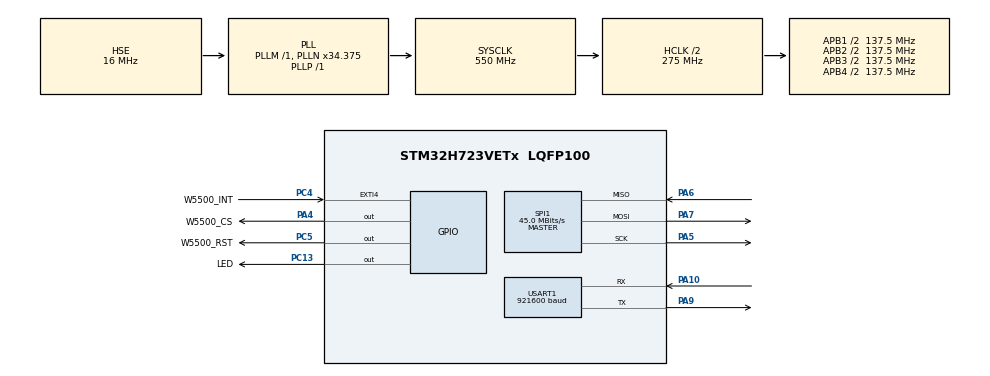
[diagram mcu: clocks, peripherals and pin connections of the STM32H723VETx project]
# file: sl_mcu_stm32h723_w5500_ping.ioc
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CORTEX_M7.CPU_ICache=Enabled
CORTEX_M7.default_mode_Activation=1
Mcu.Family=STM32H7
Mcu.Name=STM32H723VETx
Mcu.Package=LQFP100
NVIC.EXTI4_IRQn=true\:0\:0\:false\:false\:true\:true\:true\:true
NVIC.PriorityGroup=NVIC_PRIORITYGROUP_4
NVIC.SPI1_IRQn=true\:0\:0\:false\:false\:true\:true\:true\:true
NVIC.TIM4_IRQn=true\:0\:0\:false\:false\:true\:true\:true\:true
PA10.Mode=Asynchronous
PA10.Signal=USART1_RX
PA13(JTMS/SWDIO).Mode=Trace_Asynchronous_SW
PA13(JTMS/SWDIO).Signal=DEBUG_JTMS-SWDIO
PA14(JTCK/SWCLK).Mode=Trace_Asynchronous_SW
PA14(JTCK/SWCLK).Signal=DEBUG_JTCK-SWCLK
PA4.GPIO_Label=W5500_CS
PA4.PinState=GPIO_PIN_SET
PA4.Signal=GPIO_Output
PA5.GPIO_Speed=GPIO_SPEED_FREQ_VERY_HIGH
PA5.Mode=Full_Duplex_Master
PA5.Signal=SPI1_SCK
PA6.GPIO_Speed=GPIO_SPEED_FREQ_VERY_HIGH
PA6.Mode=Full_Duplex_Master
PA6.Signal=SPI1_MISO
PA7.GPIO_Speed=GPIO_SPEED_FREQ_VERY_HIGH
PA7.Mode=Full_Duplex_Master
PA7.Signal=SPI1_MOSI
PA9.Mode=Asynchronous
PA9.Signal=USART1_TX
PB3(JTDO/TRACESWO).Mode=Trace_Asynchronous_SW
PB3(JTDO/TRACESWO).Signal=DEBUG_JTDO-SWO
PC13.GPIO_Label=LED
PC13.GPIO_ModeDefaultOutputPP=GPIO_MODE_OUTPUT_OD
PC13.GPIO_PuPd=GPIO_NOPULL
PC13.PinState=GPIO_PIN_SET
PC13.Signal=GPIO_Output
PC4.GPIO_Label=W5500_INT
PC4.Signal=GPXTI4
PC5.GPIO_Label=W5500_RST
PC5.PinState=GPIO_PIN_SET
PC5.Signal=GPIO_Output
PH0-OSC_IN.Mode=HSE-External-Oscillator
PH0-OSC_IN.Signal=RCC_OSC_IN
PH1-OSC_OUT.Mode=HSE-External-Oscillator
PH1-OSC_OUT.Signal=RCC_OSC_OUT
ProjectManager.HeapSize=0x200
ProjectManager.StackSize=0x400
ProjectManager.TargetToolchain=STM32CubeIDE
RCC.ADCFreq_Value=32250000
RCC.APB1Freq_Value=137500000
RCC.APB2Freq_Value=137500000
RCC.APB3Freq_Value=137500000
RCC.APB4Freq_Value=137500000
RCC.CortexFreq_Value=550000000
RCC.D1PPRE=RCC_APB3_DIV2
RCC.D2PPRE1=RCC_APB1_DIV2
RCC.D2PPRE2=RCC_APB2_DIV2
RCC.D3PPRE=RCC_APB4_DIV2
RCC.DIVM1=1
RCC.DIVM3=8
RCC.DIVN1=34
RCC.DIVN3=180
RCC.DIVP1=1
RCC.DIVQ1=3
RCC.HCLKFreq_Value=275000000
RCC.HPRE=RCC_HCLK_DIV2
RCC.HSE_VALUE=16000000
RCC.PLLFRACN=3072
RCC.PLLSourceVirtual=RCC_PLLSOURCE_HSE
RCC.SPI123CLockSelection=RCC_SPI123CLKSOURCE_PLL3
RCC.SYSCLKFreq_VALUE=550000000
RCC.SYSCLKSource=RCC_SYSCLKSOURCE_PLLCLK
RCC.USBFreq_Value=183333333.33333334
SPI1.BaudRatePrescaler=SPI_BAUDRATEPRESCALER_4
SPI1.CalculateBaudRate=45.0 MBits/s
SPI1.DataSize=SPI_DATASIZE_8BIT
SPI1.Direction=SPI_DIRECTION_2LINES
SPI1.Mode=SPI_MODE_MASTER
SPI1.NSSPMode=SPI_NSS_PULSE_DISABLE
SPI1.VirtualType=VM_MASTER
TIM4.Period=10000 - 1
TIM4.Prescaler=27500 - 1
TIM4.TIM_MasterOutputTrigger=TIM_TRGO_UPDATE
USART1.BaudRate=921600
USART1.VirtualMode-Asynchronous=VM_ASYNC
VP_CRC_VS_CRC.Mode=CRC_Activate
VP_MEMORYMAP_VS_MEMORYMAP.Mode=CurAppReg
VP_TIM4_VS_ClockSourceINT.Mode=Internal
board=custom

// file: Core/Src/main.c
/* USER CODE BEGIN Header */
/**
 ******************************************************************************
 - @file           : main.c
 - @brief          : Main program body
 ******************************************************************************
 - @attention
 *
 - Copyright (c) 2026 STM32World <lth@stm32world.com>
 - All rights reserved.
 *
 - This software is licensed under terms that can be found in the LICENSE file
 - in the root directory of this software component.
 - If no LICENSE file comes with this software, it is provided AS-IS.
 *
 ******************************************************************************
 */
/* USER CODE END Header */
#include "main.h"

/* USER CODE BEGIN Includes */
#include <stdio.h>
#include "wizchip_conf.h"
#include "socket.h"
#include "w5500_spi.h"
#include "dhcp.h"
#include "socket.h"
/* USER CODE END Includes */

/* USER CODE BEGIN PD */
#define DHCP_SOCKET  0  // W5500 Socket 0 reserved for DHCP process
#define nist_socket      1
#define nist_port        13
/* USER CODE END PD */

CRC_HandleTypeDef hcrc;

SPI_HandleTypeDef hspi1;

TIM_HandleTypeDef htim4;

UART_HandleTypeDef huart1;

/* USER CODE BEGIN PV */

uint8_t dhcp_buffer[548]; // Working buffer required by ioLibrary DHCP

static volatile uint32_t dhcp_timer_ms = 0;
static uint8_t dhcp_allocated = 0;

// Default MAC address
static wiz_NetInfo g_net_info = {
        .mac = { 0x00, 0x08, 0xDC, 0x12, 0x34, 0x56 },
        .ip = { 0, 0, 0, 0 },
        .sn = { 0, 0, 0, 0 },
        .gw = { 0, 0, 0, 0 },
        .dns = { 0, 0, 0, 0 },
        .dhcp = NETINFO_DHCP
};

// NIST Time Server: time.nist.gov (132.163.96.1)
static uint8_t nist_server_ip[4] = { 132, 163, 96, 1 };

extern uint8_t HOST_NAME[]; // Reference the array inside dhcp.c

/* USER CODE END PV */

void SystemClock_Config(void);
static void MPU_Config(void);
static void MX_GPIO_Init(void);
static void MX_USART1_UART_Init(void);
static void MX_CRC_Init(void);
static void MX_SPI1_Init(void);
static void MX_TIM4_Init(void);
/* USER CODE BEGIN PFP */
void Print_Network_Info(void);
/* USER CODE END PFP */

/* USER CODE BEGIN 0 */

void Print_Network_Info(void) {
    wiz_NetInfo netInfo;
    wizchip_getnetinfo(&netInfo);
    printf("\n--- Network Configured via DHCP ---\n");
    printf("IP : %d.%d.%d.%d\n", netInfo.ip[0], netInfo.ip[1], netInfo.ip[2], netInfo.ip[3]);
    printf("SN : %d.%d.%d.%d\n", netInfo.sn[0], netInfo.sn[1], netInfo.sn[2], netInfo.sn[3]);
    printf("GW : %d.%d.%d.%d\n", netInfo.gw[0], netInfo.gw[1], netInfo.gw[2], netInfo.gw[3]);
    printf("DNS: %d.%d.%d.%d\n", netInfo.dns[0], netInfo.dns[1], netInfo.dns[2], netInfo.dns[3]);
    printf("----------------------------------\n\n");
}

/**
 - @brief Callback invoked when DHCP successfully retrieves an IP address
 */
void Callback_IPAssigned(void) {
    // Retrieve acquired network parameters from DHCP engine
    getIPfromDHCP(g_net_info.ip);
    getGWfromDHCP(g_net_info.gw);
    getSNfromDHCP(g_net_info.sn);
    getDNSfromDHCP(g_net_info.dns);
    g_net_info.dhcp = NETINFO_DHCP;

    // Apply acquired network parameters to the W5500 hardware
    wizchip_setnetinfo(&g_net_info);

    dhcp_allocated = 1;
    printf("[DHCP SUCCESS] IP Address Lease Acquired!\n");
    Print_Network_Info();
}

/**
 - @brief Callback invoked if IP conflict is detected on network
 */
void Callback_IPConflict(void) {
    dhcp_allocated = 0;
    printf("[DHCP ERROR] IP Conflict Detected!\n");
}

/**
 - @brief Timer Callback - Handles 1-second ticks required by DHCP engine
 */
void HAL_TIM_PeriodElapsedCallback(TIM_HandleTypeDef *htim) {
    if (htim->Instance == TIM4) {
        DHCP_time_handler(); // Must be called once every 1 second
    }
}

// NIST Time Server: time.nist.gov (132.163.96.1)
void fetch_nist_daytime(void) {
    uint8_t rx_buf[128];
    uint32_t timeout;

    // 1. Ensure socket is closed before starting
    close(nist_socket);

    // 2. Open TCP socket
    if (socket(nist_socket, Sn_MR_TCP, 8000, 0) != nist_socket) {
        printf("[TIME] Failed to open socket\n");
        return;
    }

    // 3. Connect to NIST server
    connect(nist_socket, nist_server_ip, nist_port);

    // 4. Wait for connection to establish (timeout after 2 seconds)
    timeout = uwTick + 2000;
    while (getSn_SR(nist_socket) != SOCK_ESTABLISHED) {
        if (uwTick >= timeout) {
            printf("[TIME] Connection timeout\n");
            close(nist_socket);
            return;
        }
    }

    // 5. Wait for NIST server to send daytime payload (timeout after 2 seconds)
    timeout = uwTick + 2000;
    while (getSn_RX_RSR(nist_socket) == 0) {
        if (uwTick >= timeout) {
            printf("[TIME] Receive timeout\n");
            close(nist_socket);
            return;
        }
    }

    // 6. Read received time string
    uint16_t len = getSn_RX_RSR(nist_socket);
    if (len > sizeof(rx_buf) - 1)
        len = sizeof(rx_buf) - 1;

    recv(nist_socket, rx_buf, len);
    rx_buf[len] = '\0';

    printf("[NIST TIME] %s", rx_buf);

    // 7. Clean disconnect and close
    disconnect(nist_socket);
    close(nist_socket);
}

/* USER CODE END 0 */

int main(void)
{

    /* MPU Configuration--------------------------------------------------------*/
    MPU_Config();

    /* Enable the CPU Cache */

    /* Enable I-Cache---------------------------------------------------------*/
    SCB_EnableICache();

    /* MCU Configuration--------------------------------------------------------*/

    /* Reset of all peripherals, Initializes the Flash interface and the Systick. */
    HAL_Init();

    /* Configure the system clock */
    SystemClock_Config();

    /* Initialize all configured peripherals */
    MX_GPIO_Init();
    MX_USART1_UART_Init();
    MX_CRC_Init();
    MX_SPI1_Init();
    MX_TIM4_Init();
    /* USER CODE BEGIN 2 */

    printf("\n\n\nStart W5500 DHCP Client\n");

    // Start 1-second timer interrupt for DHCP timer ticks
    HAL_TIM_Base_Start_IT(&htim4);
    printf("[SYS] TIM4 started.\n");

    // Initialize W5500 hardware and SPI callbacks
    if (W5500_Init(&g_net_info) != 0) {
        printf("[ERROR] W5500 Init Failed!\n");
        Error_Handler(); // Initialization failed
    }

    printf("[W5500] Init OK. Version Register: 0x%02X\n", getVERSIONR());

    // Initialize DHCP Client module
    DHCP_init(DHCP_SOCKET, dhcp_buffer);

    // Register DHCP Callbacks
    reg_dhcp_cbfunc(Callback_IPAssigned, Callback_IPAssigned, Callback_IPConflict);
    printf("[DHCP] Starting DHCP State Machine...\n");

    /* USER CODE END 2 */

    /* Infinite loop */
    /* USER CODE BEGIN WHILE */

    uint32_t now, loop_cnt = 0, next_blink = 500, next_tick = 1000, next_time_poll = 10000;
    uint8_t dhcp_state = 0, last_dhcp_state = 0xFF;

    while (1) {

        now = uwTick;

        /* Run DHCP state machine: every loop until IP is acquired, then once per second for lease maintenance */
        if (!dhcp_allocated || (now >= next_tick)) {
            dhcp_state = DHCP_run();

            if (dhcp_state != last_dhcp_state) {
                switch (dhcp_state) {
                case DHCP_RUNNING:
                    printf("[DHCP] Discovering/Requesting IP...\n");
                    break;
                case DHCP_IP_ASSIGN:
                    case DHCP_IP_CHANGED:
                    case DHCP_IP_LEASED:
                    break;
                case DHCP_FAILED:
                    printf("[DHCP] Request Failed!\n");
                    break;
                }
                last_dhcp_state = dhcp_state;
            }
        }

        if (now >= next_blink) {
            HAL_GPIO_TogglePin(LED_GPIO_Port, LED_Pin);
            next_blink = now + 500;
        }

        if (now >= next_tick) {
            printf("Tick %lu (loop=%lu, dhcp_allocated=%d)\n", now / 1000, loop_cnt, dhcp_allocated);

            loop_cnt = 0;
            next_tick = now + 1000;
        }

        if (dhcp_allocated && (now >= next_time_poll)) {
            printf("[TIME] Polling NIST Daytime server...\n");
            fetch_nist_daytime();
            next_time_poll = now + 10000;
        }

        ++loop_cnt;

        /* USER CODE END WHILE */

    }
}

void SystemClock_Config(void)
{
    RCC_OscInitTypeDef RCC_OscInitStruct = { 0 };
    RCC_ClkInitTypeDef RCC_ClkInitStruct = { 0 };

    /** Supply configuration update enable
     */
    HAL_PWREx_ConfigSupply(PWR_LDO_SUPPLY);

    /** Configure the main internal regulator output voltage
     */
    __HAL_PWR_VOLTAGESCALING_CONFIG(PWR_REGULATOR_VOLTAGE_SCALE0);

    while (!__HAL_PWR_GET_FLAG(PWR_FLAG_VOSRDY)) {
    }

    /** Initializes the RCC Oscillators according to the specified parameters
     * in the RCC_OscInitTypeDef structure.
     */
    RCC_OscInitStruct.OscillatorType = RCC_OSCILLATORTYPE_HSE;
    RCC_OscInitStruct.HSEState = RCC_HSE_ON;
    RCC_OscInitStruct.PLL.PLLState = RCC_PLL_ON;
    RCC_OscInitStruct.PLL.PLLSource = RCC_PLLSOURCE_HSE;
    RCC_OscInitStruct.PLL.PLLM = 1;
    RCC_OscInitStruct.PLL.PLLN = 34;
    RCC_OscInitStruct.PLL.PLLP = 1;
    RCC_OscInitStruct.PLL.PLLQ = 3;
    RCC_OscInitStruct.PLL.PLLR = 2;
    RCC_OscInitStruct.PLL.PLLRGE = RCC_PLL1VCIRANGE_3;
    RCC_OscInitStruct.PLL.PLLVCOSEL = RCC_PLL1VCOWIDE;
    RCC_OscInitStruct.PLL.PLLFRACN = 3072;
    if (HAL_RCC_OscConfig(&RCC_OscInitStruct) != HAL_OK)
            {
        Error_Handler();
    }

    /** Initializes the CPU, AHB and APB buses clocks
     */
    RCC_ClkInitStruct.ClockType = RCC_CLOCKTYPE_HCLK | RCC_CLOCKTYPE_SYSCLK
            | RCC_CLOCKTYPE_PCLK1 | RCC_CLOCKTYPE_PCLK2
            | RCC_CLOCKTYPE_D3PCLK1 | RCC_CLOCKTYPE_D1PCLK1;
    RCC_ClkInitStruct.SYSCLKSource = RCC_SYSCLKSOURCE_PLLCLK;
    RCC_ClkInitStruct.SYSCLKDivider = RCC_SYSCLK_DIV1;
    RCC_ClkInitStruct.AHBCLKDivider = RCC_HCLK_DIV2;
    RCC_ClkInitStruct.APB3CLKDivider = RCC_APB3_DIV2;
    RCC_ClkInitStruct.APB1CLKDivider = RCC_APB1_DIV2;
    RCC_ClkInitStruct.APB2CLKDivider = RCC_APB2_DIV2;
    RCC_ClkInitStruct.APB4CLKDivider = RCC_APB4_DIV2;

    if (HAL_RCC_ClockConfig(&RCC_ClkInitStruct, FLASH_LATENCY_3) != HAL_OK)
            {
        Error_Handler();
    }
}

static void MX_CRC_Init(void)
{

    hcrc.Instance = CRC;
    hcrc.Init.DefaultPolynomialUse = DEFAULT_POLYNOMIAL_ENABLE;
    hcrc.Init.DefaultInitValueUse = DEFAULT_INIT_VALUE_ENABLE;
    hcrc.Init.InputDataInversionMode = CRC_INPUTDATA_INVERSION_NONE;
    hcrc.Init.OutputDataInversionMode = CRC_OUTPUTDATA_INVERSION_DISABLE;
    hcrc.InputDataFormat = CRC_INPUTDATA_FORMAT_BYTES;
    if (HAL_CRC_Init(&hcrc) != HAL_OK)
            {
        Error_Handler();
    }

}

static void MX_SPI1_Init(void)
{

    /* SPI1 parameter configuration*/
    hspi1.Instance = SPI1;
    hspi1.Init.Mode = SPI_MODE_MASTER;
    hspi1.Init.Direction = SPI_DIRECTION_2LINES;
    hspi1.Init.DataSize = SPI_DATASIZE_8BIT;
    hspi1.Init.CLKPolarity = SPI_POLARITY_LOW;
    hspi1.Init.CLKPhase = SPI_PHASE_1EDGE;
    hspi1.Init.NSS = SPI_NSS_SOFT;
    hspi1.Init.BaudRatePrescaler = SPI_BAUDRATEPRESCALER_4;
    hspi1.Init.FirstBit = SPI_FIRSTBIT_MSB;
    hspi1.Init.TIMode = SPI_TIMODE_DISABLE;
    hspi1.Init.CRCCalculation = SPI_CRCCALCULATION_DISABLE;
    hspi1.Init.CRCPolynomial = 0x0;
    hspi1.Init.NSSPMode = SPI_NSS_PULSE_DISABLE;
    hspi1.Init.NSSPolarity = SPI_NSS_POLARITY_LOW;
    hspi1.Init.FifoThreshold = SPI_FIFO_THRESHOLD_01DATA;
    hspi1.Init.TxCRCInitializationPattern = SPI_CRC_INITIALIZATION_ALL_ZERO_PATTERN;
    hspi1.Init.RxCRCInitializationPattern = SPI_CRC_INITIALIZATION_ALL_ZERO_PATTERN;
    hspi1.Init.MasterSSIdleness = SPI_MASTER_SS_IDLENESS_00CYCLE;
    hspi1.Init.MasterInterDataIdleness = SPI_MASTER_INTERDATA_IDLENESS_00CYCLE;
    hspi1.Init.MasterReceiverAutoSusp = SPI_MASTER_RX_AUTOSUSP_DISABLE;
    hspi1.Init.MasterKeepIOState = SPI_MASTER_KEEP_IO_STATE_DISABLE;
    hspi1.Init.IOSwap = SPI_IO_SWAP_DISABLE;
    if (HAL_SPI_Init(&hspi1) != HAL_OK)
            {
        Error_Handler();
    }

}

static void MX_TIM4_Init(void)
{

    TIM_ClockConfigTypeDef sClockSourceConfig = { 0 };
    TIM_MasterConfigTypeDef sMasterConfig = { 0 };

    htim4.Instance = TIM4;
    htim4.Init.Prescaler = 27500 - 1;
    htim4.Init.CounterMode = TIM_COUNTERMODE_UP;
    htim4.Init.Period = 10000 - 1;
    htim4.Init.ClockDivision = TIM_CLOCKDIVISION_DIV1;
    htim4.Init.AutoReloadPreload = TIM_AUTORELOAD_PRELOAD_DISABLE;
    if (HAL_TIM_Base_Init(&htim4) != HAL_OK)
            {
        Error_Handler();
    }
    sClockSourceConfig.ClockSource = TIM_CLOCKSOURCE_INTERNAL;
    if (HAL_TIM_ConfigClockSource(&htim4, &sClockSourceConfig) != HAL_OK)
            {
        Error_Handler();
    }
    sMasterConfig.MasterOutputTrigger = TIM_TRGO_UPDATE;
    sMasterConfig.MasterSlaveMode = TIM_MASTERSLAVEMODE_DISABLE;
    if (HAL_TIMEx_MasterConfigSynchronization(&htim4, &sMasterConfig) != HAL_OK)
            {
        Error_Handler();
    }

}

static void MX_USART1_UART_Init(void)
{

    huart1.Instance = USART1;
    huart1.Init.BaudRate = 921600;
    huart1.Init.WordLength = UART_WORDLENGTH_8B;
    huart1.Init.StopBits = UART_STOPBITS_1;
    huart1.Init.Parity = UART_PARITY_NONE;
    huart1.Init.Mode = UART_MODE_TX_RX;
    huart1.Init.HwFlowCtl = UART_HWCONTROL_NONE;
    huart1.Init.OverSampling = UART_OVERSAMPLING_16;
    huart1.Init.OneBitSampling = UART_ONE_BIT_SAMPLE_DISABLE;
    huart1.Init.ClockPrescaler = UART_PRESCALER_DIV1;
    huart1.AdvancedInit.AdvFeatureInit = UART_ADVFEATURE_NO_INIT;
    if (HAL_UART_Init(&huart1) != HAL_OK)
            {
        Error_Handler();
    }
    if (HAL_UARTEx_SetTxFifoThreshold(&huart1, UART_TXFIFO_THRESHOLD_1_8) != HAL_OK)
            {
        Error_Handler();
    }
    if (HAL_UARTEx_SetRxFifoThreshold(&huart1, UART_RXFIFO_THRESHOLD_1_8) != HAL_OK)
            {
        Error_Handler();
    }
    if (HAL_UARTEx_DisableFifoMode(&huart1) != HAL_OK)
            {
        Error_Handler();
    }

}

static void MX_GPIO_Init(void)
{
    GPIO_InitTypeDef GPIO_InitStruct = { 0 };

    /* GPIO Ports Clock Enable */
    __HAL_RCC_GPIOC_CLK_ENABLE();
    __HAL_RCC_GPIOH_CLK_ENABLE();
    __HAL_RCC_GPIOA_CLK_ENABLE();
    __HAL_RCC_GPIOB_CLK_ENABLE();

    /*Configure GPIO pin Output Level */
    HAL_GPIO_WritePin(GPIOC, LED_Pin | W5500_RST_Pin, GPIO_PIN_SET);

    /*Configure GPIO pin Output Level */
    HAL_GPIO_WritePin(W5500_CS_GPIO_Port, W5500_CS_Pin, GPIO_PIN_SET);

    /*Configure GPIO pin : LED_Pin */
    GPIO_InitStruct.Pin = LED_Pin;
    GPIO_InitStruct.Mode = GPIO_MODE_OUTPUT_OD;
    GPIO_InitStruct.Pull = GPIO_NOPULL;
    GPIO_InitStruct.Speed = GPIO_SPEED_FREQ_LOW;
    HAL_GPIO_Init(LED_GPIO_Port, &GPIO_InitStruct);

    /*Configure GPIO pin : W5500_CS_Pin */
    GPIO_InitStruct.Pin = W5500_CS_Pin;
    GPIO_InitStruct.Mode = GPIO_MODE_OUTPUT_PP;
    GPIO_InitStruct.Pull = GPIO_NOPULL;
    GPIO_InitStruct.Speed = GPIO_SPEED_FREQ_LOW;
    HAL_GPIO_Init(W5500_CS_GPIO_Port, &GPIO_InitStruct);

    /*Configure GPIO pin : W5500_INT_Pin */
    GPIO_InitStruct.Pin = W5500_INT_Pin;
    GPIO_InitStruct.Mode = GPIO_MODE_IT_RISING;
    GPIO_InitStruct.Pull = GPIO_NOPULL;
    HAL_GPIO_Init(W5500_INT_GPIO_Port, &GPIO_InitStruct);

    /*Configure GPIO pin : W5500_RST_Pin */
    GPIO_InitStruct.Pin = W5500_RST_Pin;
    GPIO_InitStruct.Mode = GPIO_MODE_OUTPUT_PP;
    GPIO_InitStruct.Pull = GPIO_NOPULL;
    GPIO_InitStruct.Speed = GPIO_SPEED_FREQ_LOW;
    HAL_GPIO_Init(W5500_RST_GPIO_Port, &GPIO_InitStruct);

    /* EXTI interrupt init*/
    HAL_NVIC_SetPriority(W5500_INT_EXTI_IRQn, 0, 0);
    HAL_NVIC_EnableIRQ(W5500_INT_EXTI_IRQn);

}

/* USER CODE BEGIN 4 */

// Send printf to uart1
int __io_putchar(int ch) {
    if (ch == '\n') {
        HAL_UART_Transmit(&huart1, (uint8_t*) "\r", 1, HAL_MAX_DELAY);
    }
    if (HAL_UART_Transmit(&huart1, (uint8_t*) &ch, 1, HAL_MAX_DELAY) != HAL_OK) {
        return -1;
    }
    return ch;
}

/* USER CODE END 4 */

/* MPU Configuration */

void MPU_Config(void)
{
    MPU_Region_InitTypeDef MPU_InitStruct = { 0 };

    /* Disables the MPU */
    HAL_MPU_Disable();

    /** Initializes and configures the Region and the memory to be protected
     */
    MPU_InitStruct.Enable = MPU_REGION_ENABLE;
    MPU_InitStruct.Number = MPU_REGION_NUMBER0;
    MPU_InitStruct.BaseAddress = 0x0;
    MPU_InitStruct.Size = MPU_REGION_SIZE_4GB;
    MPU_InitStruct.SubRegionDisable = 0x87;
    MPU_InitStruct.TypeExtField = MPU_TEX_LEVEL0;
    MPU_InitStruct.AccessPermission = MPU_REGION_NO_ACCESS;
    MPU_InitStruct.DisableExec = MPU_INSTRUCTION_ACCESS_DISABLE;
    MPU_InitStruct.IsShareable = MPU_ACCESS_SHAREABLE;
    MPU_InitStruct.IsCacheable = MPU_ACCESS_NOT_CACHEABLE;
    MPU_InitStruct.IsBufferable = MPU_ACCESS_NOT_BUFFERABLE;

    HAL_MPU_ConfigRegion(&MPU_InitStruct);
    /* Enables the MPU */
    HAL_MPU_Enable(MPU_PRIVILEGED_DEFAULT);

}

void Error_Handler(void)
{
    __disable_irq();
    while (1)
    {
    }
}
